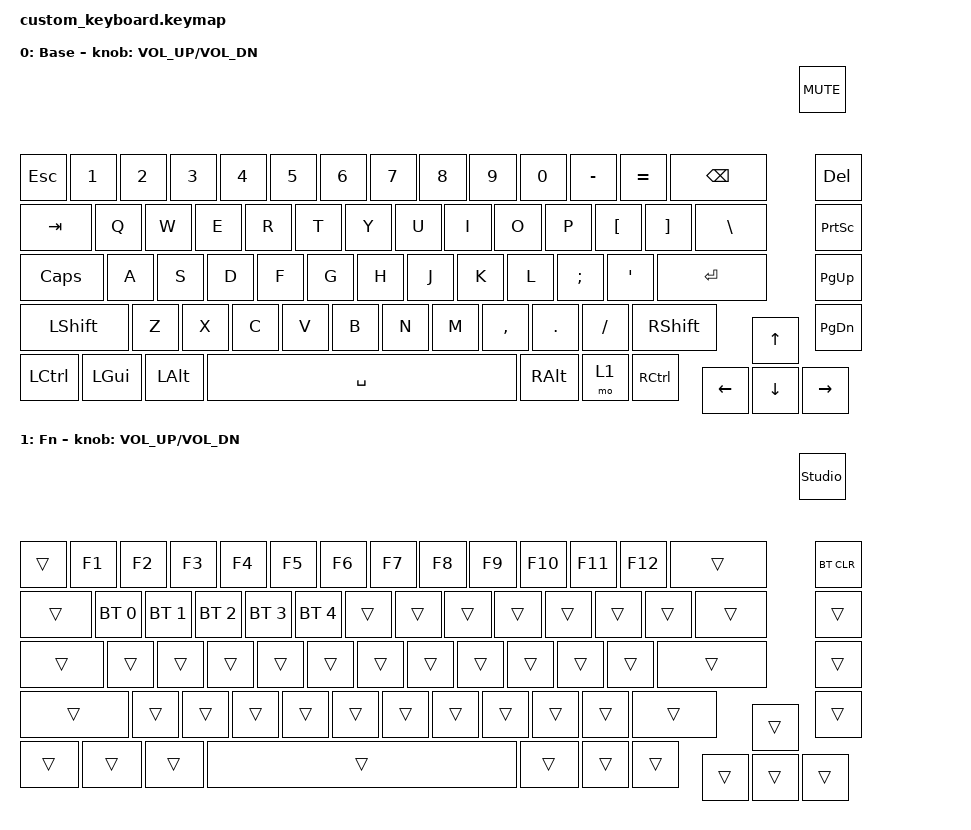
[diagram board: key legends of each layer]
#include <behaviors.dtsi>
#include <dt-bindings/zmk/keys.h>
#include <dt-bindings/zmk/bt.h>

/ {
    keymap {
        compatible = "zmk,keymap";

        default_layer {
            display-name = "Base";

            bindings = <
            // Esc       1         2         3         4         5         6         7
               &kp ESC   &kp N1    &kp N2    &kp N3    &kp N4    &kp N5    &kp N6    &kp N7
            // 8         9         0         -         =         Backspace Delete
               &kp N8    &kp N9    &kp N0    &kp MINUS &kp EQUAL &kp BSPC  &kp DEL

            // Tab       Q         W         E         R         T         Y         U
               &kp TAB   &kp Q     &kp W     &kp E     &kp R     &kp T     &kp Y     &kp U
            // I         O         P         [         ]         \         PrintScreen
               &kp I     &kp O     &kp P     &kp LBKT  &kp RBKT  &kp BSLH  &kp PSCRN

            // Caps      A         S         D         F         G         H         J
               &kp CAPS  &kp A     &kp S     &kp D     &kp F     &kp G     &kp H     &kp J
            // K         L         ;         '         Enter     PageUp
               &kp K     &kp L     &kp SEMI  &kp SQT   &kp ENTER &kp PG_UP

            // LShift    Z         X         C         V         B         N         M
               &kp LSHFT &kp Z     &kp X     &kp C     &kp V     &kp B     &kp N     &kp M
            // ,         .         /         RShift    Up        PageDown
               &kp COMMA &kp DOT   &kp FSLH  &kp RSHFT &kp UP    &kp PG_DN

            // LCtrl     Win       LAlt      Space     RAlt      Fn        RCtrl
               &kp LCTRL &kp LGUI  &kp LALT  &kp SPACE &kp RALT  &mo 1     &kp RCTRL
            // Left      Down      Right
               &kp LEFT  &kp DOWN  &kp RIGHT

            // Encoder push
               &kp C_MUTE
            >;

            sensor-bindings = <&inc_dec_kp C_VOL_UP C_VOL_DN>;
        };

        function_layer {
            display-name = "Fn";

            bindings = <
            // Esc       F1        F2        F3        F4        F5        F6        F7
               &trans    &kp F1    &kp F2    &kp F3    &kp F4    &kp F5    &kp F6    &kp F7
            // F8        F9        F10       F11       F12       Backspace Clear current BT bond
               &kp F8    &kp F9    &kp F10   &kp F11   &kp F12   &trans    &bt BT_CLR

            // Tab       BT 1          BT 2          BT 3          BT 4          BT 5
               &trans    &bt BT_SEL 0  &bt BT_SEL 1  &bt BT_SEL 2  &bt BT_SEL 3  &bt BT_SEL 4
            // Y         U         I         O         P         [         ]         \         PrintScreen
               &trans    &trans    &trans    &trans    &trans    &trans    &trans    &trans    &trans

            // Caps      A         S         D         F         G         H         J
               &trans    &trans    &trans    &trans    &trans    &trans    &trans    &trans
            // K         L         ;         '         Enter     PageUp
               &trans    &trans    &trans    &trans    &trans    &trans

            // LShift    Z         X         C         V         B         N         M
               &trans    &trans    &trans    &trans    &trans    &trans    &trans    &trans
            // ,         .         /         RShift    Up        PageDown
               &trans    &trans    &trans    &trans    &trans    &trans

            // LCtrl     Win       LAlt      Space     RAlt      Fn        RCtrl
               &trans    &trans    &trans    &trans    &trans    &trans    &trans
            // Left      Down      Right
               &trans    &trans    &trans

            // Fn + encoder push: unlock Studio
               &studio_unlock
            >;

            sensor-bindings = <&inc_dec_kp C_VOL_UP C_VOL_DN>;
        };

        extra_layer_1 {
            status = "reserved";
        };

        extra_layer_2 {
            status = "reserved";
        };
    };
};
